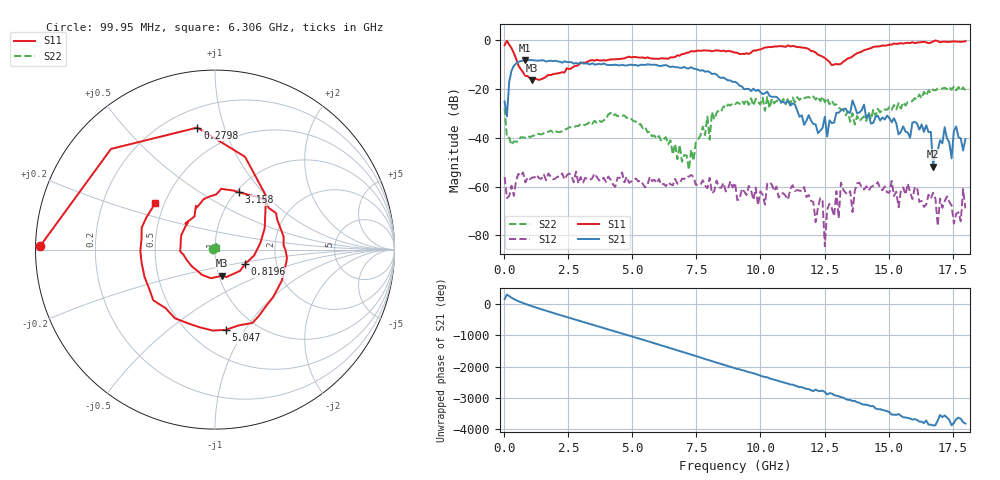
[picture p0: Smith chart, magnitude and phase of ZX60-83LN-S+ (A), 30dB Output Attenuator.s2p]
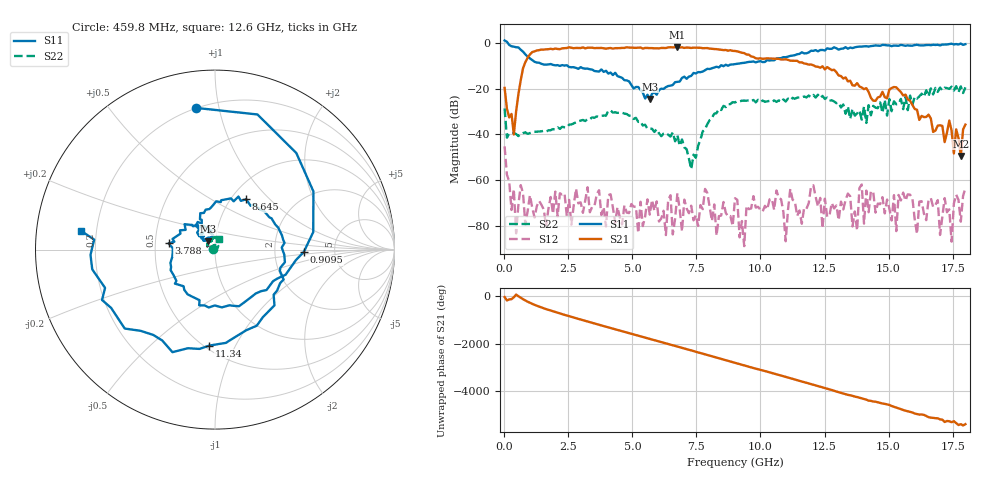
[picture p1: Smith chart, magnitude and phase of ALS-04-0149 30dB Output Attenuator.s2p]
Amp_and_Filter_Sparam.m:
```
% Amplifier gain calculations for VLA Solar Telescope
% S parameters measured with 30dB output attenuation
clear
clc
close all

% Importing data
ZX60A = sparameters('ZX60-83LN-S+ (A), 30dB Output Attenuator.s2p');
ALS = sparameters('ALS-04-0149 30dB Output Attenuator.s2p');
filter = sparameters('Unmarked Bandpass Filter.s2p');
S21_filter = mag2db( abs( rfparam(filter, 2, 1) ));
S21_ZX60 = mag2db( abs( rfparam(ZX60A, 2, 1) )) + 30;     % 30dB Normalized
S21_ALS = mag2db( abs( rfparam(ALS, 2, 1) )) + 30;        % 30dB Normalized
freq = ZX60A.Frequencies;

% Graphing S-Parameters
figure(1)
tiledlayout('flow')
nexttile
rfplot(ZX60A, 2, 1)
hold on
rfplot(ALS, 2, 1)
grid on
title('ZX60-83LN-S+ (Blue) and ALS-04-0149 (Red)')
xlabel('Frequency (GHz)')
ylabel('S21 (dB)')

% Filter
nexttile
rfplot(filter, 2, 1)
grid on
title('Unmarked Bandpass Filter')
xlabel('Frequency (GHz)')
ylabel('S21 (dB)')

% Mean LNA gain in the passband
L = freq > 7800*10^6 & freq < 8900*10^6;
pbFreq = freq(L, :);
pbGainZX60 = S21_ZX60(L, :);
pbGainALS = S21_ALS(L, :);
disp(mean(pbGainZX60))
disp(mean(pbGainALS))

% Output csv
writematrix([freq/10^6, S21_ZX60, S21_ALS, S21_filter], 'Amplifiers and Filter Sparam.txt', 'Delimiter', 'tab');
```
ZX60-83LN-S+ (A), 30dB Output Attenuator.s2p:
!Agilent Technologies,E8363B,SG43030126,A.07.50.67
!Agilent E8363B: A.07.50.67
!Date: Monday, August 08, 1988 04:01:13
!Correction: S11(Full 2 Port(1,2))
!S21(Full 2 Port(1,2))
!S12(Full 2 Port(1,2))
!S22(Full 2 Port(1,2))
!S2P File: Measurements: S11, S21, S12, S22:
# Hz S  dB  R 50
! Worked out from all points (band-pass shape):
!   201 points, 10 MHz to 18 GHz, reference 50 ohm
!   highest |S21| = -8.10 dB at 819.5 MHz (marker M1); lowest = -51.8 dB at 16.74 GHz (marker M2)
!   |S21| within 3 dB of the highest: 343.2 MHz to 6.767 GHz (6.424 GHz wide, 181 % of centre); 6.996 GHz to 7.048 GHz (51.35 MHz wide, 0.731 % of centre)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
!   lowest |S11| = -16.4 dB at 1.089 GHz (marker M3), VSWR 1.36, Z = 51.9 - j15.5 ohm
!   |S11| at or under -10 dB: 535.7 MHz to 2.913 GHz (2.378 GHz wide, 138 % of centre); 12.77 GHz to 12.86 GHz (98.49 MHz wide, 0.769 % of centre)
!   |S22| runs from -53.1 to -19.0 dB; largest |S21 - S12| = 0.39
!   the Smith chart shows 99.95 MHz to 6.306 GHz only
!   S11 on the Smith chart (normalised r, x): 99.95 MHz: 0.01, +0.01; 279.9 MHz: 0.32, +0.81; 819.5 MHz: 1.38, -0.23; 3.158 GHz: 1.03, +0.75; 5.047 GHz: 0.73, -0.82; 6.306 GHz: 0.45, +0.28
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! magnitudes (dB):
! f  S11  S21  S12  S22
! 10 MHz  -2.1  -25.2  -56.1  -27.7
! 99.95 MHz  -0.2  -31.3  -64.7  -40.0
! 279.9 MHz  -3.3  -12.5  -59.7  -42.9
! 819.5 MHz  -14.7  -8.1  -58.3  -40.0
! 1.089 GHz  -16.4  -8.2  -56.2  -39.3
! 3.158 GHz  -9.2  -9.6  -56.4  -34.7
! 5.047 GHz  -6.9  -10.2  -57.3  -33.1
! 6.306 GHz  -7.5  -10.2  -59.8  -39.8
! 9.005 GHz  -5.1  -17.1  -58.5  -26.3
! 16.74 GHz  -0.5  -51.8  -62.5  -20.2
! 18 GHz  -0.5  -40.5  -68.9  -20.5
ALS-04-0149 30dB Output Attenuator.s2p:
!Agilent Technologies,E8363B,SG43030126,A.07.50.67
!Agilent E8363B: A.07.50.67
!Date: Friday, August 05, 1988 10:30:09
!Correction: S11(Full 2 Port(1,2))
!S21(Full 2 Port(1,2))
!S12(Full 2 Port(1,2))
!S22(Full 2 Port(1,2))
!S2P File: Measurements: S11, S21, S12, S22:
# Hz S  dB  R 50
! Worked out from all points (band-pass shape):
!   201 points, 10 MHz to 18 GHz, reference 50 ohm
!   highest |S21| = -1.86 dB at 6.756 GHz (marker M1); lowest = -49.4 dB at 17.82 GHz (marker M2)
!   |S21| within 3 dB of the highest: 1.023 GHz to 9.412 GHz (8.389 GHz wide, 161 % of centre)
!   lowest |S11| = -24.5 dB at 5.677 GHz (marker M3), VSWR 1.13, Z = 46.2 + j4.31 ohm
!   |S11| at or under -10 dB: 2.134 GHz to 2.203 GHz (69.52 MHz wide, 3.21 % of centre); 2.459 GHz to 8.449 GHz (5.99 GHz wide, 110 % of centre); 8.504 GHz to 8.591 GHz (86.47 MHz wide, 1.01 % of centre)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
!   |S22| runs from -55.2 to -19.0 dB; largest |S21 - S12| = 0.81
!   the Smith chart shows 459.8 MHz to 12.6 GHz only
!   S11 on the Smith chart (normalised r, x): 459.8 MHz: 0.20, +0.86; 909.5 MHz: 2.95, -0.11; 3.788 GHz: 0.59, +0.04; 8.645 GHz: 1.17, +0.74; 11.34 GHz: 0.53, -0.79; 12.6 GHz: 0.14, +0.07
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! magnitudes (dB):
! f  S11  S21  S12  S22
! 10 MHz  1.0  -19.7  -45.2  -28.6
! 459.8 MHz  -2.0  -30.0  -83.2  -39.9
! 909.5 MHz  -6.1  -6.6  -73.5  -39.8
! 3.788 GHz  -11.7  -2.3  -75.2  -31.9
! 5.677 GHz  -24.5  -2.4  -75.0  -37.5
! 6.756 GHz  -17.1  -1.9  -65.7  -40.4
! 8.645 GHz  -9.6  -3.2  -74.2  -28.1
! 9.005 GHz  -9.4  -3.6  -67.9  -26.1
! 11.34 GHz  -5.4  -7.9  -69.3  -24.4
! 12.6 GHz  -2.4  -10.7  -75.9  -23.9
! 17.82 GHz  -0.4  -49.4  -78.1  -19.0
! 18 GHz  -0.6  -35.7  -63.5  -19.5
